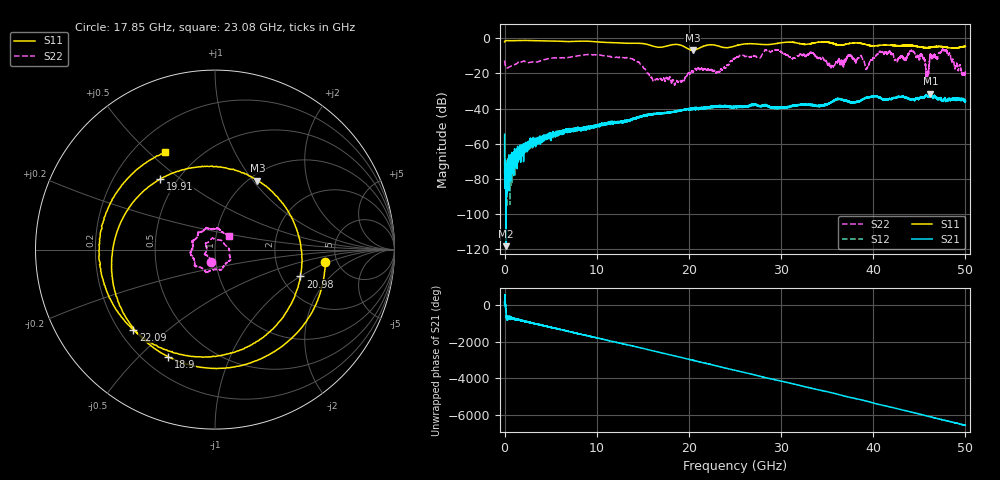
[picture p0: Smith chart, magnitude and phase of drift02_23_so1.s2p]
!Created with skrf (http://scikit-rf.org).
# Hz S RI R 50.0
!freq ReS11 ImS11 ReS21 ImS21 ReS12 ImS12 ReS22 ImS22
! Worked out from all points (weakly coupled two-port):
!   10001 points, 300 kHz to 50 GHz, reference 50 ohm
!   highest |S21| = -31.62 dB at 46.21 GHz (marker M1); lowest = -118.1 dB at 175.3 MHz (marker M2)
!   lowest |S11| = -6.9 dB at 20.41 GHz (marker M3), VSWR 2.64, Z = 54.5 + j52.5 ohm
!   |S11| at or under -10 dB: nowhere
!   |S22| runs from -26.7 to -6.3 dB; largest |S21 - S12| = 0.0028
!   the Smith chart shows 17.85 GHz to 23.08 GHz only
!   S11 on the Smith chart (normalised r, x): 17.85 GHz: 4.01, -0.90; 18.9 GHz: 0.30, -0.62; 19.91 GHz: 0.40, +0.42; 20.98 GHz: 2.53, -1.01; 22.09 GHz: 0.26, -0.39; 23.08 GHz: 0.33, +0.56
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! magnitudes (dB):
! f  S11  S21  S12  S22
! 300 kHz  -2.1  -54.6  -64.8  -12.8
! 175.3 MHz  -1.4  -118.1  -71.8  -16.9
! 2.97 GHz  -1.4  -57.3  -59.2  -13.5
! 8.335 GHz  -1.7  -51.5  -51.5  -9.7
! 13.7 GHz  -2.9  -46.5  -46.7  -11.6
! 16.67 GHz  -5.2  -42.8  -42.7  -23.5
! 17.85 GHz  -4.2  -42.4  -42.2  -23.1
! 18.9 GHz  -3.7  -41.3  -41.5  -24.2
! 19.91 GHz  -6.1  -40.5  -40.4  -19.8
! 20.41 GHz  -6.9  -40.2  -40.3  -19.0
! 20.98 GHz  -6.0  -39.7  -39.5  -16.7
! 22.09 GHz  -3.9  -39.7  -39.4  -17.6
! 23.08 GHz  -4.3  -39.0  -38.8  -19.2
! 25 GHz  -4.5  -39.1  -39.4  -11.5
! 33.34 GHz  -3.0  -38.0  -37.9  -8.3
! 39.32 GHz  -3.8  -33.8  -33.9  -17.1
! 41.67 GHz  -4.0  -34.6  -34.8  -7.9
! 44.26 GHz  -4.2  -34.8  -34.6  -7.3
! 45.86 GHz  -5.4  -32.8  -32.9  -19.1
! 46.21 GHz  -5.3  -31.6  -31.6  -9.2
! 47.76 GHz  -5.1  -33.9  -34.6  -6.6
! 50 GHz  -4.7  -35.4  -35.4  -19.3
